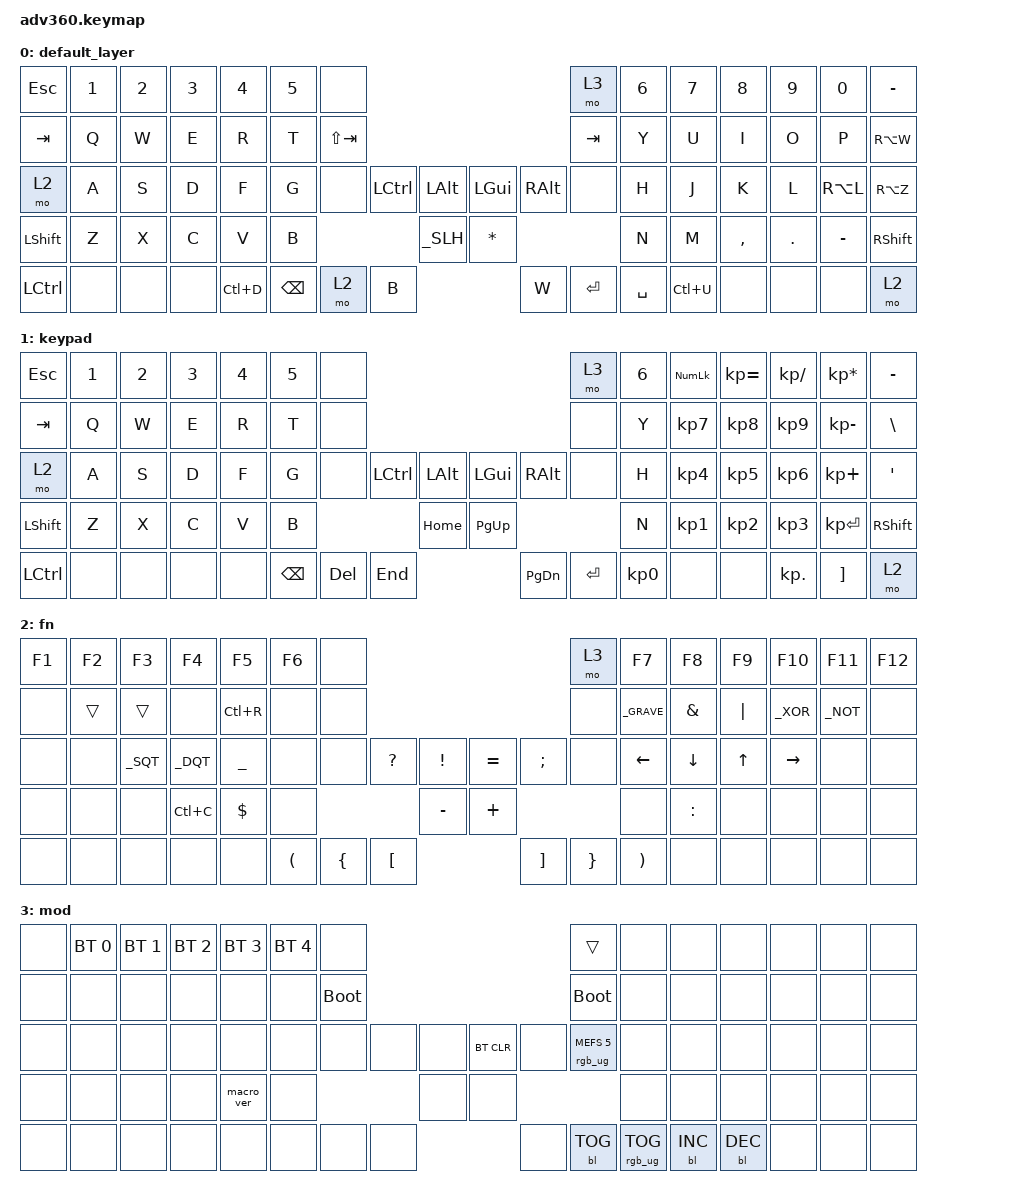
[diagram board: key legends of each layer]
#include <behaviors.dtsi>
#include <dt-bindings/zmk/keys.h>
#include <dt-bindings/zmk/bt.h>
#include <dt-bindings/zmk/rgb.h>
#include <dt-bindings/zmk/backlight.h>

// Outer scope.
/ {

behaviors {

#include "macros.dtsi"
#include "version.dtsi"

#ifndef VERSION_MACRO
macro_ver: macro_ver {
    compatible = "zmk,behavior-macro";
    label = "macro_version";
    #binding-cells = <0>;
    bindings = <&kp RET>;
};
#endif

hm: homerow_mods {
    compatible = "zmk,behavior-hold-tap";
    label = "HOMEROW_MODS";
    #binding-cells = <2>;
    tapping-term-ms = <200>;
    quick_tap_ms = <175>;
    flavor = "tap-preferred";
    bindings = <&kp>, <&kp>;
};

_SLH: _SLH {
    compatible = "zmk,behavior-mod-morph";
    #binding-cells = <0>;
    bindings = <&kp FSLH>, <&kp BSLH>;
    mods = <MOD_LSFT>;
};

}; // behaviors

macros {

_DQT: _DQT {
    compatible = "zmk,behavior-macro";
    #binding-cells = <0>;
    bindings
    = <&macro_tap &kp DQT>
    , <&macro_tap &kp SPACE>
    ;
};

_SQT: _SQT {
    compatible = "zmk,behavior-macro";
    #binding-cells = <0>;
    bindings
    = <&macro_tap &kp SQT>
    , <&macro_tap &kp SPACE>
    ;
};

_GRAVE: _GRAVE {
    compatible = "zmk,behavior-macro";
    #binding-cells = <0>;
    bindings
    = <&macro_tap &kp GRAVE>
    , <&macro_tap &kp SPACE>
    ;
};

_XOR: _XOR {
    compatible = "zmk,behavior-macro";
    #binding-cells = <0>;
    bindings
    = <&macro_tap &kp CARET>
    , <&macro_tap &kp SPACE>
    ;
};

_NOT: _NOT {
    compatible = "zmk,behavior-macro";
    #binding-cells = <0>;
    bindings
    = <&macro_tap &kp TILDE>
    , <&macro_tap &kp SPACE>
    ;
};

}; // macros


keymap {

compatible = "zmk,keymap";

default_layer {
  bindings = <
    &kp ESC   &kp N1    &kp N2   &kp N3   &kp N4     &kp N5 &none                                                              &mo 3    &kp N6 &kp N7      &kp N8    &kp N9   &kp N0    &kp MINUS
    &kp TAB   &kp Q     &kp W    &kp E    &kp R      &kp T  &kp LS(TAB)                                                        &kp TAB  &kp Y  &kp U       &kp I     &kp O    &kp P     &kp RA(W)
    &mo 2     &kp A     &kp S    &kp D    &kp F      &kp G  &none           &kp LCTRL &kp LALT  &kp LGUI &kp RALT              &none    &kp H  &kp J       &kp K     &kp L    &kp RA(L) &kp RA(Z)
    &kp LSHFT &kp Z     &kp X    &kp C    &kp V      &kp B                            &_SLH     &kp STAR                                &kp N  &kp M       &kp COMMA &kp DOT  &kp MINUS &kp RSHFT
    &kp LCTRL &none     &none    &none    &kp LC(D)                &kp BSPC &mo 2     &kp B     &kp W    &kp ENTER &kp SPACE                   &kp LC(U)   &none     &none    &none     &mo 2
  >;
};

keypad {
  bindings = <
    &kp ESC   &kp N1    &kp N2   &kp N3   &kp N4     &kp N5 &none                                                            &mo 3 &kp N6 &kp KP_NUM &kp KP_EQUAL &kp KP_DIVIDE &kp KP_MULTIPLY &kp MINUS
    &kp TAB   &kp Q     &kp W    &kp E    &kp R      &kp T  &none                                                            &none &kp Y  &kp KP_N7  &kp KP_N8    &kp KP_N9     &kp KP_MINUS    &kp BSLH
    &mo 2     &kp A     &kp S    &kp D    &kp F      &kp G  &none           &kp LCTRL &kp LALT &kp LGUI  &kp RALT            &none &kp H  &kp KP_N4  &kp KP_N5    &kp KP_N6     &kp KP_PLUS     &kp SQT
    &kp LSHFT &kp Z     &kp X    &kp C    &kp V      &kp B                            &kp HOME &kp PG_UP                           &kp N  &kp KP_N1  &kp KP_N2    &kp KP_N3     &kp KP_ENTER    &kp RSHFT
    &kp LCTRL &none     &none    &none    &none                    &kp BSPC &kp DEL   &kp END  &kp PG_DN &kp ENTER &kp KP_N0              &none      &none        &kp KP_DOT    &kp RBKT        &mo 2
  >;
};

fn {
  bindings = <
    &kp F1  &kp F2  &kp F3  &kp F4      &kp F5      &kp F6      &none                                                           &mo 3   &kp F7      &kp F8    &kp F9   &kp F10    &kp F11   &kp F12
    &none   &trans  &trans  &none       &kp LC(R)   &none       &none                                                           &none   &_GRAVE     &kp AMPS  &kp PIPE &_XOR      &_NOT     &none
    &none   &none   &_SQT   &_DQT       &kp UNDER   &none       &none           &kp QMARK &kp EXCL  &kp EQUAL &kp SEMI          &none   &kp LEFT    &kp DOWN  &kp UP   &kp RIGHT  &none     &none
    &none   &none   &none   &kp LC(C)   &kp DLLR    &none                                 &kp MINUS &kp PLUS                            &none       &kp COLON &none    &none      &none     &none
    &none   &none   &none   &none       &none                       &kp LPAR    &kp LBRC  &kp LBKT  &kp RBKT  &kp RBRC  &kp RPAR                    &none     &none    &none      &none     &none
  >;
};

mod {
  bindings = <
    &none &bt BT_SEL 0 &bt BT_SEL 1 &bt BT_SEL 2 &bt BT_SEL 3 &bt BT_SEL 4 &none                                                                     &trans                 &none        &none        &none        &none &none &none
    &none &none        &none        &none        &none        &none        &bootloader                                                               &bootloader            &none        &none        &none        &none &none &none
    &none &none        &none        &none        &none        &none        &none                   &none &none &bt BT_CLR &none                      &rgb_ug RGB_MEFS_CMD 5 &none        &none        &none        &none &none &none
    &none &none        &none        &none        &macro_ver   &none                                      &none &none                                                        &none        &none        &none        &none &none &none
    &none &none        &none        &none        &none                                       &none &none &none &none      &bl BL_TOG &rgb_ug RGB_TOG                                     &bl BL_INC   &bl BL_DEC   &none &none &none
  >;
};

}; // keymaps.

}; // Outer scope.
